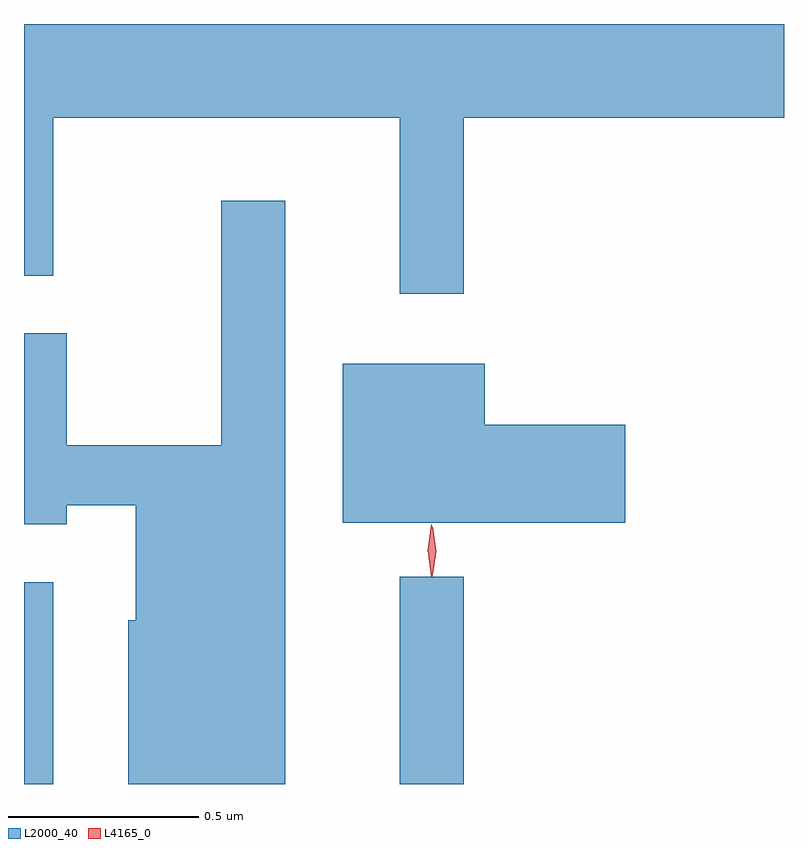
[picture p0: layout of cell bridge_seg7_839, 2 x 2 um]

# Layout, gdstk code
import gdstk
lib = gdstk.Library(unit=1e-6, precision=1e-09)
def R(c, l, rs):  # rectangles x0, y0, x1, y1
    for r in rs: c.add(gdstk.rectangle(r[:2], r[2:], *l))
def P(c, l, *ps):  # polygons
    for p in ps: c.add(gdstk.Polygon(p, *l))
L2000_40 = (2000, 40)
L4165_0 = (4165, 0)

bridge_seg7_839 = lib.new_cell('bridge_seg7_839')
R(bridge_seg7_839, L2000_40, [(378.192,1785.823,378.269,1786.354), (379.181,1785.823,379.349,1786.368)])
P(bridge_seg7_839, L2000_40, [(379.349,1787.576),(380.192,1787.576),(380.192,1787.823),(378.192,1787.823),(378.192,1787.161),(378.269,1787.161),(378.269,1787.576),(379.181,1787.576),(379.181,1787.113),(379.349,1787.113)],
  [(378.879,1787.358),(378.711,1787.358),(378.711,1786.714),(378.304,1786.714),(378.304,1787.009),(378.192,1787.009),(378.192,1786.506),(378.304,1786.506),(378.304,1786.556),(378.486,1786.556),(378.486,1786.254),(378.466,1786.254),(378.466,1785.823),(378.879,1785.823)],
  [(379.774,1786.769),(379.404,1786.769),(379.404,1786.929),(379.031,1786.929),(379.031,1786.511),(379.774,1786.511)])
P(bridge_seg7_839, L4165_0, [(379.267,1786.373),(379.266,1786.374),(379.257,1786.436),(379.266,1786.5),(379.267,1786.5),(379.267,1786.5),(379.277,1786.436),(379.267,1786.374)],
  [(379.264,1786.37),(379.255,1786.438),(379.264,1786.505),(379.264,1786.506),(379.265,1786.505),(379.274,1786.438),(379.266,1786.37),(379.265,1786.37)])

lib.write_gds('bridge_seg7_839.gds')
